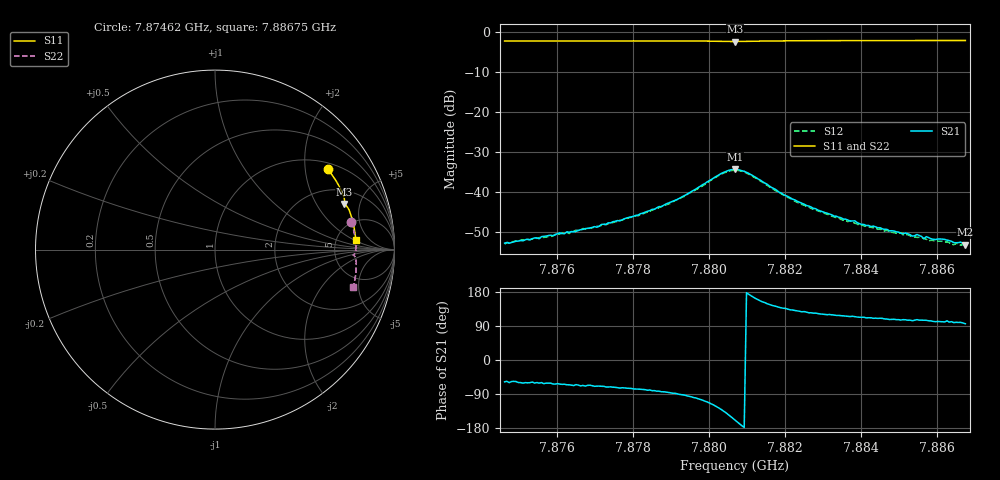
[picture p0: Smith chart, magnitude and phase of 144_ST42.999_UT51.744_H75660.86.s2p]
#  HZ  S  DB  R  50.00
! Rohde & Schwarz Vector Network Analyzer
! Rohde-Schwarz,ZNB20-2Port,1311601062101988,3.16
! Created: UTC 1/12/2023, 6:40:00 PM
! freq[Hz]  db:S11  ang:S11  db:S21  ang:S21  db:S12  ang:S12  db:S22  ang:S22
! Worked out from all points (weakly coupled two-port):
!   201 points, 7.87462 GHz to 7.88675 GHz, reference 50 ohm
!   highest |S21| = -34.36 dB at 7.88069 GHz (marker M1); lowest = -53.2 dB at 7.88675 GHz (marker M2)
!   lowest |S11| = -2.3 dB at 7.88069 GHz (marker M3), VSWR 7.45, Z = 146 + j178 ohm
!   |S11| at or under -10 dB: nowhere
!   |S22| runs from -2.3 to -2.0 dB; largest |S21 - S12| = 0.0012
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7.87462e9  -2.24 35.4  -52.80 -57.6  -53.10 -59.8  -2.21 11.5
7.875955e9  -2.22 31.8  -50.76 -63.7  -50.57 -66.9  -2.16 8.2
7.876319e9  -2.22 30.8  -50.09 -65.5  -50.41 -68.9  -2.15 7.4
7.876683e9  -2.21 29.8  -49.36 -67.2  -49.15 -69.6  -2.14 6.5
7.877289e9  -2.20 28.2  -48.09 -71.1  -48.23 -73.0  -2.13 5.1
7.878684e9  -2.20 24.3  -43.67 -82.1  -43.94 -85.8  -2.10 1.8
7.879351e9  -2.20 22.4  -40.95 -92.6  -41.16 -96.2  -2.11 0.2
7.880322e9  -2.31 19.8  -35.38 -130.5  -35.54 -134.0  -2.21 -2.0
7.880686e9  -2.35 19.4  -34.36 -158.9  -34.58 -161.8  -2.26 -2.3
7.88105e9  -2.30 19.0  -35.36 173.1  -35.57 170.1  -2.20 -2.5
7.881838e9  -2.19 17.0  -40.03 139.2  -40.07 136.1  -2.08 -4.1
7.882748e9  -2.14 14.5  -44.12 123.7  -44.32 121.1  -2.03 -6.2
7.883961e9  -2.12 11.2  -47.94 112.8  -48.37 110.7  -2.00 -9.0
7.884749e9  -2.11 9.1  -49.74 106.8  -49.98 105.2  -1.98 -10.8
7.885174e9  -2.10 8.0  -50.28 106.2  -50.61 102.6  -1.97 -11.7
7.885356e9  -2.10 7.5  -51.05 103.7  -51.19 102.4  -1.97 -12.1
7.885477e9  -2.10 7.2  -50.65 106.5  -51.37 100.9  -1.97 -12.4
7.885659e9  -2.10 6.7  -51.77 105.0  -51.63 101.5  -1.97 -12.8
7.88572e9  -2.10 6.6  -51.20 104.8  -51.79 101.3  -1.96 -12.9
7.885781e9  -2.10 6.4  -51.42 103.5  -52.31 99.4  -1.98 -13.0
7.886266e9  -2.09 5.1  -52.06 103.5  -52.51 96.8  -1.96 -14.0
7.886751e9  -2.09 3.9  -53.16 95.7  -53.58 95.6  -1.96 -15.1
